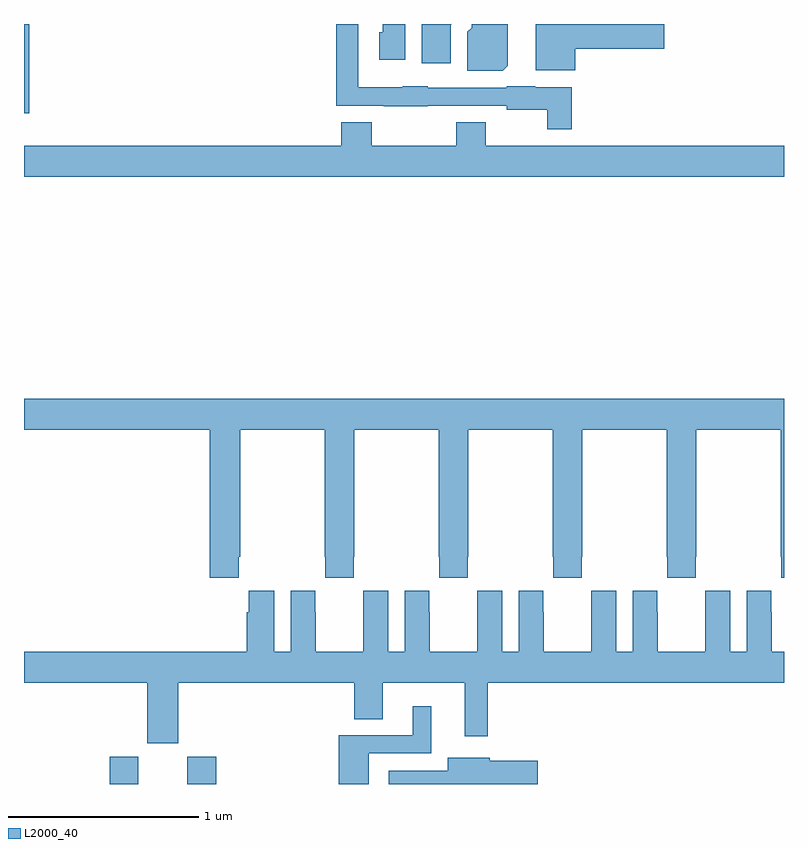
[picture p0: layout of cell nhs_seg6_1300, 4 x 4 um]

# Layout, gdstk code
import gdstk
lib = gdstk.Library(unit=1e-6, precision=1e-09)
def R(c, l, rs):  # rectangles x0, y0, x1, y1
    for r in rs: c.add(gdstk.rectangle(r[:2], r[2:], *l))
def P(c, l, *ps):  # polygons
    for p in ps: c.add(gdstk.Polygon(p, *l))
L2000_40 = (2000, 40)

nhs_seg6_1300 = lib.new_cell('nhs_seg6_1300')
R(nhs_seg6_1300, L2000_40, [(191.45,917.5,191.602,917.643), (191.858,917.5,192.011,917.643), (191,921.03,191.027,921.5)])
P(nhs_seg6_1300, L2000_40, [(193.006,921.5),(192.887,921.5),(192.887,921.456),(192.869,921.456),(192.869,921.312),(193.006,921.312)],
  [(193.883,921.166),(193.692,921.166),(193.692,921.172),(193.542,921.172),(193.542,921.165),(193.125,921.165),(193.125,921.172),(192.993,921.172),(192.993,921.166),(192.759,921.166),(192.759,921.5),(192.643,921.5),(192.643,921.069),(192.893,921.069),(192.893,921.068),(193.125,921.068),(193.125,921.069),(193.542,921.069),(193.542,921.05),(193.755,921.05),(193.755,920.945),(193.883,920.945)],
  [(193.546,921.28),(193.546,921.5),(193.356,921.5),(193.356,921.48),(193.334,921.458),(193.334,921.254),(193.52,921.254)],
  [(193.246,921.498),(193.25,921.498),(193.25,921.5),(193.094,921.5),(193.094,921.294),(193.246,921.294)],
  [(193.9,921.371),(194.371,921.371),(194.371,921.5),(193.694,921.5),(193.694,921.257),(193.9,921.257)],
  [(195,920.86),(193.431,920.86),(193.431,920.984),(193.276,920.984),(193.276,920.86),(192.831,920.86),(192.831,920.984),(192.671,920.984),(192.671,920.86),(191,920.86),(191,920.696),(195,920.696)],
  [(192.131,918.697),(192.138,918.697),(192.138,919.364),(192.583,919.364),(192.583,918.697),(192.585,918.697),(192.585,918.585),(192.735,918.585),(192.735,918.697),(192.738,918.697),(192.738,919.364),(193.183,919.364),(193.183,918.697),(193.185,918.697),(193.185,918.585),(193.335,918.585),(193.335,918.697),(193.338,918.697),(193.338,919.364),(193.783,919.364),(193.783,918.697),(193.785,918.697),(193.785,918.585),(193.935,918.585),(193.935,918.697),(193.938,918.697),(193.938,919.364),(194.383,919.364),(194.383,918.697),(194.385,918.697),(194.385,918.585),(194.535,918.585),(194.535,918.697),(194.538,918.697),(194.538,919.364),(194.983,919.364),(194.983,918.697),(194.985,918.697),(194.985,918.585),(195,918.585),(195,919.528),(191,919.528),(191,919.364),(191.978,919.364),(191.978,918.585),(192.131,918.585)],
  [(191.812,918.032),(192.737,918.032),(192.737,917.842),(192.889,917.842),(192.889,918.032),(193.319,918.032),(193.319,917.751),(193.441,917.751),(193.441,918.032),(195,918.032),(195,918.196),(194.935,918.196),(194.935,918.404),(194.934,918.404),(194.934,918.517),(194.804,918.517),(194.804,918.196),(194.716,918.196),(194.716,918.517),(194.586,918.517),(194.586,918.404),(194.585,918.404),(194.585,918.196),(194.335,918.196),(194.335,918.404),(194.334,918.404),(194.334,918.517),(194.204,918.517),(194.204,918.196),(194.116,918.196),(194.116,918.517),(193.986,918.517),(193.986,918.404),(193.985,918.404),(193.985,918.196),(193.735,918.196),(193.735,918.404),(193.734,918.404),(193.734,918.517),(193.604,918.517),(193.604,918.196),(193.516,918.196),(193.516,918.517),(193.386,918.517),(193.386,918.404),(193.385,918.404),(193.385,918.196),(193.135,918.196),(193.135,918.404),(193.134,918.404),(193.134,918.517),(193.004,918.517),(193.004,918.196),(192.916,918.196),(192.916,918.517),(192.786,918.517),(192.786,918.404),(192.785,918.404),(192.785,918.196),(192.535,918.196),(192.535,918.404),(192.534,918.404),(192.534,918.517),(192.404,918.517),(192.404,918.196),(192.316,918.196),(192.316,918.517),(192.182,918.517),(192.182,918.404),(192.173,918.404),(192.173,918.196),(191,918.196),(191,918.032),(191.648,918.032),(191.648,917.715),(191.812,917.715)],
  [(192.814,917.661),(193.144,917.661),(193.144,917.908),(193.046,917.908),(193.046,917.757),(192.656,917.757),(192.656,917.5),(192.814,917.5)],
  [(193.705,917.622),(193.452,917.622),(193.452,917.638),(193.229,917.638),(193.229,917.571),(192.921,917.571),(192.921,917.5),(193.705,917.5)])

lib.write_gds('nhs_seg6_1300.gds')
